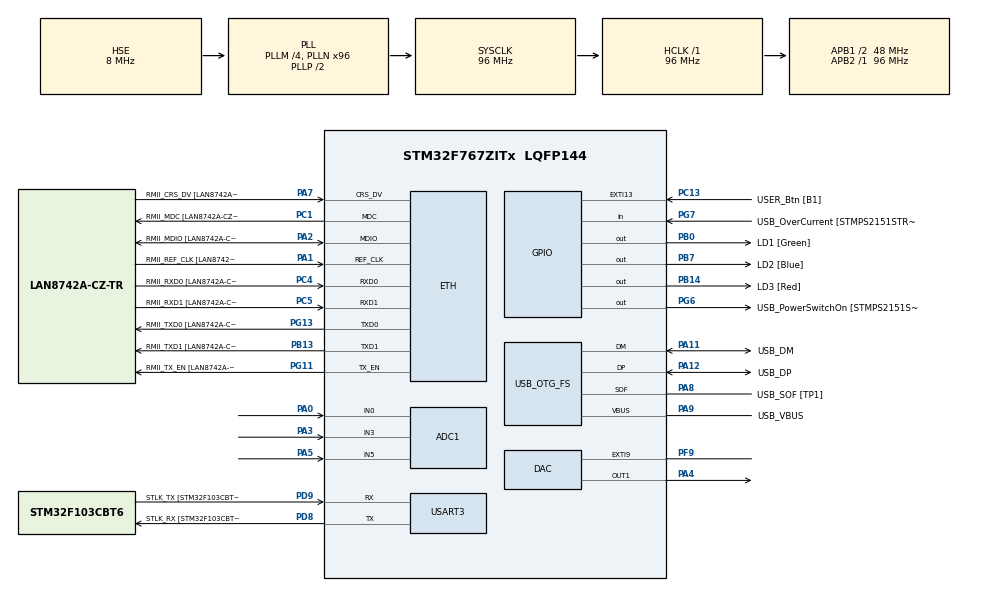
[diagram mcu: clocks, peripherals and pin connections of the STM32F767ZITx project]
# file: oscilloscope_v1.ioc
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ADC1.Channel-0\#ChannelRegularConversion=ADC_CHANNEL_0
ADC1.Channel-1\#ChannelRegularConversion=ADC_CHANNEL_3
ADC1.Channel-2\#ChannelRegularConversion=ADC_CHANNEL_5
ADC1.ClockPrescaler=ADC_CLOCK_SYNC_PCLK_DIV4
ADC1.ContinuousConvMode=ENABLE
ADC1.DMAContinuousRequests=ENABLE
ADC1.DiscontinuousConvMode=DISABLE
ADC1.EnableAnalogWatchDog=false
ADC1.ExternalTrigConv=ADC_EXTERNALTRIGCONV_T2_TRGO
ADC1.InjNumberOfConversion=0
ADC1.NbrOfConversion=3
ADC1.NbrOfConversionFlag=1
ADC1.Rank-0\#ChannelRegularConversion=1
ADC1.Rank-1\#ChannelRegularConversion=2
ADC1.Rank-2\#ChannelRegularConversion=3
ADC1.SamplingTime-0\#ChannelRegularConversion=ADC_SAMPLETIME_3CYCLES
ADC1.SamplingTime-1\#ChannelRegularConversion=ADC_SAMPLETIME_3CYCLES
ADC1.SamplingTime-2\#ChannelRegularConversion=ADC_SAMPLETIME_3CYCLES
ADC1.master=1
DAC.DAC_Trigger=DAC_TRIGGER_T2_TRGO
Dma.ADC1.0.Direction=DMA_PERIPH_TO_MEMORY
Dma.ADC1.0.FIFOMode=DMA_FIFOMODE_DISABLE
Dma.ADC1.0.Instance=DMA2_Stream0
Dma.ADC1.0.MemDataAlignment=DMA_MDATAALIGN_HALFWORD
Dma.ADC1.0.MemInc=DMA_MINC_ENABLE
Dma.ADC1.0.Mode=DMA_CIRCULAR
Dma.ADC1.0.PeriphDataAlignment=DMA_PDATAALIGN_HALFWORD
Dma.ADC1.0.PeriphInc=DMA_PINC_DISABLE
Dma.ADC1.0.Priority=DMA_PRIORITY_LOW
Dma.DAC1.1.Direction=DMA_MEMORY_TO_PERIPH
Dma.DAC1.1.FIFOMode=DMA_FIFOMODE_DISABLE
Dma.DAC1.1.Instance=DMA1_Stream5
Dma.DAC1.1.MemDataAlignment=DMA_MDATAALIGN_HALFWORD
Dma.DAC1.1.MemInc=DMA_MINC_ENABLE
Dma.DAC1.1.Mode=DMA_CIRCULAR
Dma.DAC1.1.PeriphDataAlignment=DMA_PDATAALIGN_HALFWORD
Dma.DAC1.1.PeriphInc=DMA_PINC_DISABLE
Dma.DAC1.1.Priority=DMA_PRIORITY_LOW
Dma.Request0=ADC1
Dma.Request1=DAC1
ETH.MediaInterface=HAL_ETH_RMII_MODE
ETH.PHY_Name=LAN8742A_PHY_ADDRESS
ETH.PHY_Value=0
ETH.PhyAddress=0
Mcu.Family=STM32F7
Mcu.Name=STM32F767ZITx
Mcu.Package=LQFP144
NVIC.DMA1_Stream5_IRQn=true\:0\:0\:false\:false\:true\:false\:true\:true
NVIC.DMA2_Stream0_IRQn=true\:0\:0\:false\:false\:true\:false\:true\:true
NVIC.EXTI15_10_IRQn=true\:0\:0\:false\:false\:true\:true\:true\:true
NVIC.PriorityGroup=NVIC_PRIORITYGROUP_4
PA0/WKUP.Signal=ADCx_IN0
PA1.GPIO_Label=RMII_REF_CLK [LAN8742A-CZ-TR_REFCLK0]
PA1.Mode=RMII
PA1.Signal=ETH_REF_CLK
PA10.GPIO_Label=USB_ID
PA10.Signal=USB_OTG_FS_ID
PA11.GPIO_Label=USB_DM
PA11.Mode=Device_Only
PA11.Signal=USB_OTG_FS_DM
PA12.GPIO_Label=USB_DP
PA12.Mode=Device_Only
PA12.Signal=USB_OTG_FS_DP
PA13.GPIO_Label=TMS
PA13.Mode=Serial_Wire
PA13.Signal=SYS_JTMS-SWDIO
PA14.GPIO_Label=TCK
PA14.Mode=Serial_Wire
PA14.Signal=SYS_JTCK-SWCLK
PA2.GPIO_Label=RMII_MDIO [LAN8742A-CZ-TR_MDIO]
PA2.Mode=RMII
PA2.Signal=ETH_MDIO
PA3.Signal=ADCx_IN3
PA4.Signal=COMP_DAC1_group
PA5.Signal=ADCx_IN5
PA7.GPIO_Label=RMII_CRS_DV [LAN8742A-CZ-TR_CRS_DV]
PA7.Mode=RMII
PA7.Signal=ETH_CRS_DV
PA8.GPIO_Label=USB_SOF [TP1]
PA8.Mode=Activate_SOF_FS
PA8.Signal=USB_OTG_FS_SOF
PA9.GPIO_Label=USB_VBUS
PA9.Mode=Activate_VBUS
PA9.Signal=USB_OTG_FS_VBUS
PB0.GPIO_Label=LD1 [Green]
PB0.Signal=GPIO_Output
PB13.GPIO_Label=RMII_TXD1 [LAN8742A-CZ-TR_TXD1]
PB13.Mode=RMII
PB13.Signal=ETH_TXD1
PB14.GPIO_Label=LD3 [Red]
PB14.Signal=GPIO_Output
PB3.GPIO_Label=SWO
PB3.Signal=SYS_JTDO-SWO
PB7.GPIO_Label=LD2 [Blue]
PB7.Signal=GPIO_Output
PC1.GPIO_Label=RMII_MDC [LAN8742A-CZ-TR_MDC]
PC1.Mode=RMII
PC1.Signal=ETH_MDC
PC13.GPIO_Label=USER_Btn [B1]
PC13.Signal=GPXTI13
PC14/OSC32_IN.Mode=LSE-External-Oscillator
PC14/OSC32_IN.Signal=RCC_OSC32_IN
PC15/OSC32_OUT.Mode=LSE-External-Oscillator
PC15/OSC32_OUT.Signal=RCC_OSC32_OUT
PC4.GPIO_Label=RMII_RXD0 [LAN8742A-CZ-TR_RXD0]
PC4.Mode=RMII
PC4.Signal=ETH_RXD0
PC5.GPIO_Label=RMII_RXD1 [LAN8742A-CZ-TR_RXD1]
PC5.Mode=RMII
PC5.Signal=ETH_RXD1
PD8.GPIO_Label=STLK_RX [STM32F103CBT6_PA3]
PD8.Mode=Asynchronous
PD8.Signal=USART3_TX
PD9.GPIO_Label=STLK_TX [STM32F103CBT6_PA2]
PD9.Mode=Asynchronous
PD9.Signal=USART3_RX
PF9.Signal=GPXTI9
PG11.GPIO_Label=RMII_TX_EN [LAN8742A-CZ-TR_TXEN]
PG11.Mode=RMII
PG11.Signal=ETH_TX_EN
PG13.GPIO_Label=RMII_TXD0 [LAN8742A-CZ-TR_TXD0]
PG13.Mode=RMII
PG13.Signal=ETH_TXD0
PG6.GPIO_Label=USB_PowerSwitchOn [STMPS2151STR_EN]
PG6.Signal=GPIO_Output
PG7.GPIO_Label=USB_OverCurrent [STMPS2151STR_FAULT]
PG7.Signal=GPIO_Input
PH0/OSC_IN.GPIO_Label=MCO [STM32F103CBT6_PA8]
PH0/OSC_IN.Mode=HSE-External-Clock-Source
PH0/OSC_IN.Signal=RCC_OSC_IN
PH1/OSC_OUT.Mode=HSE-External-Clock-Source
PH1/OSC_OUT.Signal=RCC_OSC_OUT
ProjectManager.HeapSize=0x200
ProjectManager.StackSize=0x400
ProjectManager.TargetToolchain=STM32CubeIDE
RCC.48MHZClocksFreq_Value=24000000
RCC.AHBFreq_Value=96000000
RCC.APB1CLKDivider=RCC_HCLK_DIV2
RCC.APB1Freq_Value=48000000
RCC.APB1TimFreq_Value=96000000
RCC.APB2Freq_Value=96000000
RCC.APB2TimFreq_Value=96000000
RCC.CortexFreq_Value=96000000
RCC.HCLKFreq_Value=96000000
RCC.HSE_VALUE=8000000
RCC.HSI_VALUE=16000000
RCC.PLLM=4
RCC.PLLMUL=RCC_PLL_MUL9
RCC.PLLN=96
RCC.PLLQ=4
RCC.PRESCALERUSB=RCC_USBCLKSOURCE_PLL_DIV1_5
RCC.SYSCLKFreq_VALUE=96000000
RCC.SYSCLKSource=RCC_SYSCLKSOURCE_PLLCLK
RCC.SYSCLKSourceVirtual=RCC_SYSCLKSOURCE_PLLCLK
RCC.USBFreq_Value=48000000
RCC.VCOOutputFreq_Value=192000000
SH.ADCx_IN0.0=ADC1_IN0,IN0
SH.ADCx_IN3.0=ADC1_IN3,IN3
SH.ADCx_IN5.0=ADC1_IN5,IN5
SH.COMP_DAC1_group.0=DAC_OUT1,DAC_OUT1
TIM2.Period=4799
TIM2.Prescaler=199
TIM2.TIM_MasterOutputTrigger=TIM_TRGO_UPDATE
USART3.VirtualMode-Asynchronous=VM_ASYNC
USB_OTG_FS.VirtualMode=Device_Only
VP_TIM2_VS_ClockSourceINT.Mode=Internal
board=NUCLEO-F767ZI

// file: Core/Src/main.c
/* USER CODE BEGIN Header */
/**
  ******************************************************************************
  * @file           : main.c
  * @brief          : Main program body
  ******************************************************************************
  * @attention
  *
  * Copyright (c) 2025 STMicroelectronics.
  * All rights reserved.
  *
  * This software is licensed under terms that can be found in the LICENSE file
  * in the root directory of this software component.
  * If no LICENSE file comes with this software, it is provided AS-IS.
  *
  ******************************************************************************
  */
/* USER CODE END Header */
#include "main.h"
#include "string.h"

#if defined ( __ICCARM__ ) /*!< IAR Compiler */
#pragma location=0x2007c000
ETH_DMADescTypeDef  DMARxDscrTab[ETH_RX_DESC_CNT]; /* Ethernet Rx DMA Descriptors */
#pragma location=0x2007c0a0
ETH_DMADescTypeDef  DMATxDscrTab[ETH_TX_DESC_CNT]; /* Ethernet Tx DMA Descriptors */

#elif defined ( __CC_ARM )  /* MDK ARM Compiler */

__attribute__((at(0x2007c000))) ETH_DMADescTypeDef  DMARxDscrTab[ETH_RX_DESC_CNT]; /* Ethernet Rx DMA Descriptors */
__attribute__((at(0x2007c0a0))) ETH_DMADescTypeDef  DMATxDscrTab[ETH_TX_DESC_CNT]; /* Ethernet Tx DMA Descriptors */

#elif defined ( __GNUC__ ) /* GNU Compiler */

ETH_DMADescTypeDef DMARxDscrTab[ETH_RX_DESC_CNT] __attribute__((section(".RxDecripSection"))); /* Ethernet Rx DMA Descriptors */
ETH_DMADescTypeDef DMATxDscrTab[ETH_TX_DESC_CNT] __attribute__((section(".TxDecripSection")));   /* Ethernet Tx DMA Descriptors */
#endif

ETH_TxPacketConfig TxConfig;

ADC_HandleTypeDef hadc1;
DMA_HandleTypeDef hdma_adc1;

DAC_HandleTypeDef hdac;
DMA_HandleTypeDef hdma_dac1;

ETH_HandleTypeDef heth;

TIM_HandleTypeDef htim2;

UART_HandleTypeDef huart3;

PCD_HandleTypeDef hpcd_USB_OTG_FS;

void SystemClock_Config(void);
static void MX_GPIO_Init(void);
static void MX_DMA_Init(void);
static void MX_ETH_Init(void);
static void MX_USART3_UART_Init(void);
static void MX_USB_OTG_FS_PCD_Init(void);
static void MX_ADC1_Init(void);
static void MX_DAC_Init(void);
static void MX_TIM2_Init(void);
/* USER CODE BEGIN PFP */
#define PUTCHAR_PROTOTYPE int __io_putchar(int ch)
/* USER CODE END PFP */

/* USER CODE BEGIN 0 */
PUTCHAR_PROTOTYPE
{
  HAL_UART_Transmit(&huart3, (uint8_t *)&ch, 1, HAL_MAX_DELAY);
  return ch;
}

#define TIM_CLK 96000000
#define DAC_BUF_LEN 32
#define ADC_BUF_LEN 32
#define ADC_CHANS 3

volatile uint16_t adc_buf[ADC_BUF_LEN * ADC_CHANS];
volatile uint16_t dac_buf[DAC_BUF_LEN];
volatile uint16_t timestamp = 0;

void HAL_GPIO_EXTI_Callback (uint16_t GPIO_Pin) {
	if(GPIO_Pin == USER_Btn_Pin) {
		timestamp = 0;
	}
}

/* USER CODE END 0 */

int main(void)
{

  /* USER CODE BEGIN 1 */
	for (int i = 0; i < DAC_BUF_LEN; i++) {
		dac_buf[i] = 1.3f * i * (i - 15) * (i - 31) + 1970;
	}

  /* USER CODE END 1 */

  /* MCU Configuration--------------------------------------------------------*/

  /* Reset of all peripherals, Initializes the Flash interface and the Systick. */
  HAL_Init();

  /* Configure the system clock */
  SystemClock_Config();

  /* Initialize all configured peripherals */
  MX_GPIO_Init();
  MX_DMA_Init();
  MX_ETH_Init();
  MX_USART3_UART_Init();
  MX_USB_OTG_FS_PCD_Init();
  MX_ADC1_Init();
  MX_DAC_Init();
  MX_TIM2_Init();
  /* USER CODE BEGIN 2 */

  HAL_TIM_Base_Start(&htim2);

  HAL_DAC_Start_DMA(&hdac, DAC_CHANNEL_1, (uint32_t*) dac_buf, DAC_BUF_LEN, DAC_ALIGN_12B_R);
  HAL_ADC_Start_DMA(&hadc1, (uint32_t*) adc_buf, ADC_BUF_LEN * ADC_CHANS);

  /* USER CODE END 2 */

  /* Infinite loop */
  while (1)
  {

    /* USER CODE BEGIN 3 */
	  int delay = 1000.0f * (htim2.Init.Prescaler + 1) * (htim2.Init.Period + 1) / TIM_CLK;
	  for (int i = 0; i < ADC_BUF_LEN; i++) {
		  uint16_t val_in0 = adc_buf[3 * i];
		  uint16_t val_in3 = adc_buf[3 * i + 1];
		  uint16_t val_in5 = adc_buf[3 * i + 2];
		  printf("%5u %4u %4u %4u\r\n", timestamp, val_in0, val_in3, val_in5);
		  HAL_Delay(delay);
	  }
  }
  /* USER CODE END 3 */
}

void SystemClock_Config(void)
{
  RCC_OscInitTypeDef RCC_OscInitStruct = {0};
  RCC_ClkInitTypeDef RCC_ClkInitStruct = {0};

  /** Configure LSE Drive Capability
  */
  HAL_PWR_EnableBkUpAccess();

  /** Configure the main internal regulator output voltage
  */
  __HAL_RCC_PWR_CLK_ENABLE();
  __HAL_PWR_VOLTAGESCALING_CONFIG(PWR_REGULATOR_VOLTAGE_SCALE3);

  /** Initializes the RCC Oscillators according to the specified parameters
  * in the RCC_OscInitTypeDef structure.
  */
  RCC_OscInitStruct.OscillatorType = RCC_OSCILLATORTYPE_HSE;
  RCC_OscInitStruct.HSEState = RCC_HSE_BYPASS;
  RCC_OscInitStruct.PLL.PLLState = RCC_PLL_ON;
  RCC_OscInitStruct.PLL.PLLSource = RCC_PLLSOURCE_HSE;
  RCC_OscInitStruct.PLL.PLLM = 4;
  RCC_OscInitStruct.PLL.PLLN = 96;
  RCC_OscInitStruct.PLL.PLLP = RCC_PLLP_DIV2;
  RCC_OscInitStruct.PLL.PLLQ = 4;
  RCC_OscInitStruct.PLL.PLLR = 2;
  if (HAL_RCC_OscConfig(&RCC_OscInitStruct) != HAL_OK)
  {
    Error_Handler();
  }

  /** Activate the Over-Drive mode
  */
  if (HAL_PWREx_EnableOverDrive() != HAL_OK)
  {
    Error_Handler();
  }

  /** Initializes the CPU, AHB and APB buses clocks
  */
  RCC_ClkInitStruct.ClockType = RCC_CLOCKTYPE_HCLK|RCC_CLOCKTYPE_SYSCLK
                              |RCC_CLOCKTYPE_PCLK1|RCC_CLOCKTYPE_PCLK2;
  RCC_ClkInitStruct.SYSCLKSource = RCC_SYSCLKSOURCE_PLLCLK;
  RCC_ClkInitStruct.AHBCLKDivider = RCC_SYSCLK_DIV1;
  RCC_ClkInitStruct.APB1CLKDivider = RCC_HCLK_DIV2;
  RCC_ClkInitStruct.APB2CLKDivider = RCC_HCLK_DIV1;

  if (HAL_RCC_ClockConfig(&RCC_ClkInitStruct, FLASH_LATENCY_3) != HAL_OK)
  {
    Error_Handler();
  }
}

static void MX_ADC1_Init(void)
{

  ADC_ChannelConfTypeDef sConfig = {0};

  /** Configure the global features of the ADC (Clock, Resolution, Data Alignment and number of conversion)
  */
  hadc1.Instance = ADC1;
  hadc1.Init.ClockPrescaler = ADC_CLOCK_SYNC_PCLK_DIV4;
  hadc1.Init.Resolution = ADC_RESOLUTION_12B;
  hadc1.Init.ScanConvMode = ADC_SCAN_ENABLE;
  hadc1.Init.ContinuousConvMode = ENABLE;
  hadc1.Init.DiscontinuousConvMode = DISABLE;
  hadc1.Init.ExternalTrigConvEdge = ADC_EXTERNALTRIGCONVEDGE_RISING;
  hadc1.Init.ExternalTrigConv = ADC_EXTERNALTRIGCONV_T2_TRGO;
  hadc1.Init.DataAlign = ADC_DATAALIGN_RIGHT;
  hadc1.Init.NbrOfConversion = 3;
  hadc1.Init.DMAContinuousRequests = ENABLE;
  hadc1.Init.EOCSelection = ADC_EOC_SINGLE_CONV;
  if (HAL_ADC_Init(&hadc1) != HAL_OK)
  {
    Error_Handler();
  }

  /** Configure for the selected ADC regular channel its corresponding rank in the sequencer and its sample time.
  */
  sConfig.Channel = ADC_CHANNEL_0;
  sConfig.Rank = ADC_REGULAR_RANK_1;
  sConfig.SamplingTime = ADC_SAMPLETIME_3CYCLES;
  if (HAL_ADC_ConfigChannel(&hadc1, &sConfig) != HAL_OK)
  {
    Error_Handler();
  }

  /** Configure for the selected ADC regular channel its corresponding rank in the sequencer and its sample time.
  */
  sConfig.Channel = ADC_CHANNEL_3;
  sConfig.Rank = ADC_REGULAR_RANK_2;
  if (HAL_ADC_ConfigChannel(&hadc1, &sConfig) != HAL_OK)
  {
    Error_Handler();
  }

  /** Configure for the selected ADC regular channel its corresponding rank in the sequencer and its sample time.
  */
  sConfig.Channel = ADC_CHANNEL_5;
  sConfig.Rank = ADC_REGULAR_RANK_3;
  if (HAL_ADC_ConfigChannel(&hadc1, &sConfig) != HAL_OK)
  {
    Error_Handler();
  }

}

static void MX_DAC_Init(void)
{

  DAC_ChannelConfTypeDef sConfig = {0};

  /** DAC Initialization
  */
  hdac.Instance = DAC;
  if (HAL_DAC_Init(&hdac) != HAL_OK)
  {
    Error_Handler();
  }

  /** DAC channel OUT1 config
  */
  sConfig.DAC_Trigger = DAC_TRIGGER_T2_TRGO;
  sConfig.DAC_OutputBuffer = DAC_OUTPUTBUFFER_ENABLE;
  if (HAL_DAC_ConfigChannel(&hdac, &sConfig, DAC_CHANNEL_1) != HAL_OK)
  {
    Error_Handler();
  }

}

static void MX_ETH_Init(void)
{

   static uint8_t MACAddr[6];

  heth.Instance = ETH;
  MACAddr[0] = 0x00;
  MACAddr[1] = 0x80;
  MACAddr[2] = 0xE1;
  MACAddr[3] = 0x00;
  MACAddr[4] = 0x00;
  MACAddr[5] = 0x00;
  heth.Init.MACAddr = &MACAddr[0];
  heth.Init.MediaInterface = HAL_ETH_RMII_MODE;
  heth.Init.TxDesc = DMATxDscrTab;
  heth.Init.RxDesc = DMARxDscrTab;
  heth.Init.RxBuffLen = 1524;

  if (HAL_ETH_Init(&heth) != HAL_OK)
  {
    Error_Handler();
  }

  memset(&TxConfig, 0 , sizeof(ETH_TxPacketConfig));
  TxConfig.Attributes = ETH_TX_PACKETS_FEATURES_CSUM | ETH_TX_PACKETS_FEATURES_CRCPAD;
  TxConfig.ChecksumCtrl = ETH_CHECKSUM_IPHDR_PAYLOAD_INSERT_PHDR_CALC;
  TxConfig.CRCPadCtrl = ETH_CRC_PAD_INSERT;

}

static void MX_TIM2_Init(void)
{

  TIM_ClockConfigTypeDef sClockSourceConfig = {0};
  TIM_MasterConfigTypeDef sMasterConfig = {0};

  htim2.Instance = TIM2;
  htim2.Init.Prescaler = 199;
  htim2.Init.CounterMode = TIM_COUNTERMODE_UP;
  htim2.Init.Period = 4799;
  htim2.Init.ClockDivision = TIM_CLOCKDIVISION_DIV1;
  htim2.Init.AutoReloadPreload = TIM_AUTORELOAD_PRELOAD_DISABLE;
  if (HAL_TIM_Base_Init(&htim2) != HAL_OK)
  {
    Error_Handler();
  }
  sClockSourceConfig.ClockSource = TIM_CLOCKSOURCE_INTERNAL;
  if (HAL_TIM_ConfigClockSource(&htim2, &sClockSourceConfig) != HAL_OK)
  {
    Error_Handler();
  }
  sMasterConfig.MasterOutputTrigger = TIM_TRGO_UPDATE;
  sMasterConfig.MasterSlaveMode = TIM_MASTERSLAVEMODE_DISABLE;
  if (HAL_TIMEx_MasterConfigSynchronization(&htim2, &sMasterConfig) != HAL_OK)
  {
    Error_Handler();
  }

}

static void MX_USART3_UART_Init(void)
{

  huart3.Instance = USART3;
  huart3.Init.BaudRate = 115200;
  huart3.Init.WordLength = UART_WORDLENGTH_8B;
  huart3.Init.StopBits = UART_STOPBITS_1;
  huart3.Init.Parity = UART_PARITY_NONE;
  huart3.Init.Mode = UART_MODE_TX_RX;
  huart3.Init.HwFlowCtl = UART_HWCONTROL_NONE;
  huart3.Init.OverSampling = UART_OVERSAMPLING_16;
  huart3.Init.OneBitSampling = UART_ONE_BIT_SAMPLE_DISABLE;
  huart3.AdvancedInit.AdvFeatureInit = UART_ADVFEATURE_NO_INIT;
  if (HAL_UART_Init(&huart3) != HAL_OK)
  {
    Error_Handler();
  }

}

static void MX_USB_OTG_FS_PCD_Init(void)
{

  hpcd_USB_OTG_FS.Instance = USB_OTG_FS;
  hpcd_USB_OTG_FS.Init.dev_endpoints = 6;
  hpcd_USB_OTG_FS.Init.speed = PCD_SPEED_FULL;
  hpcd_USB_OTG_FS.Init.dma_enable = DISABLE;
  hpcd_USB_OTG_FS.Init.phy_itface = PCD_PHY_EMBEDDED;
  hpcd_USB_OTG_FS.Init.Sof_enable = ENABLE;
  hpcd_USB_OTG_FS.Init.low_power_enable = DISABLE;
  hpcd_USB_OTG_FS.Init.lpm_enable = DISABLE;
  hpcd_USB_OTG_FS.Init.vbus_sensing_enable = ENABLE;
  hpcd_USB_OTG_FS.Init.use_dedicated_ep1 = DISABLE;
  if (HAL_PCD_Init(&hpcd_USB_OTG_FS) != HAL_OK)
  {
    Error_Handler();
  }

}

static void MX_DMA_Init(void)
{

  /* DMA controller clock enable */
  __HAL_RCC_DMA2_CLK_ENABLE();
  __HAL_RCC_DMA1_CLK_ENABLE();

  /* DMA interrupt init */
  /* DMA1_Stream5_IRQn interrupt configuration */
  HAL_NVIC_SetPriority(DMA1_Stream5_IRQn, 0, 0);
  HAL_NVIC_EnableIRQ(DMA1_Stream5_IRQn);
  /* DMA2_Stream0_IRQn interrupt configuration */
  HAL_NVIC_SetPriority(DMA2_Stream0_IRQn, 0, 0);
  HAL_NVIC_EnableIRQ(DMA2_Stream0_IRQn);

}

static void MX_GPIO_Init(void)
{
  GPIO_InitTypeDef GPIO_InitStruct = {0};

  /* GPIO Ports Clock Enable */
  __HAL_RCC_GPIOC_CLK_ENABLE();
  __HAL_RCC_GPIOF_CLK_ENABLE();
  __HAL_RCC_GPIOH_CLK_ENABLE();
  __HAL_RCC_GPIOA_CLK_ENABLE();
  __HAL_RCC_GPIOB_CLK_ENABLE();
  __HAL_RCC_GPIOD_CLK_ENABLE();
  __HAL_RCC_GPIOG_CLK_ENABLE();

  /*Configure GPIO pin Output Level */
  HAL_GPIO_WritePin(GPIOB, LD1_Pin|LD3_Pin|LD2_Pin, GPIO_PIN_RESET);

  /*Configure GPIO pin Output Level */
  HAL_GPIO_WritePin(USB_PowerSwitchOn_GPIO_Port, USB_PowerSwitchOn_Pin, GPIO_PIN_RESET);

  /*Configure GPIO pin : USER_Btn_Pin */
  GPIO_InitStruct.Pin = USER_Btn_Pin;
  GPIO_InitStruct.Mode = GPIO_MODE_IT_RISING;
  GPIO_InitStruct.Pull = GPIO_NOPULL;
  HAL_GPIO_Init(USER_Btn_GPIO_Port, &GPIO_InitStruct);

  /*Configure GPIO pin : PF9 */
  GPIO_InitStruct.Pin = GPIO_PIN_9;
  GPIO_InitStruct.Mode = GPIO_MODE_IT_RISING;
  GPIO_InitStruct.Pull = GPIO_NOPULL;
  HAL_GPIO_Init(GPIOF, &GPIO_InitStruct);

  /*Configure GPIO pins : LD1_Pin LD3_Pin LD2_Pin */
  GPIO_InitStruct.Pin = LD1_Pin|LD3_Pin|LD2_Pin;
  GPIO_InitStruct.Mode = GPIO_MODE_OUTPUT_PP;
  GPIO_InitStruct.Pull = GPIO_NOPULL;
  GPIO_InitStruct.Speed = GPIO_SPEED_FREQ_LOW;
  HAL_GPIO_Init(GPIOB, &GPIO_InitStruct);

  /*Configure GPIO pin : USB_PowerSwitchOn_Pin */
  GPIO_InitStruct.Pin = USB_PowerSwitchOn_Pin;
  GPIO_InitStruct.Mode = GPIO_MODE_OUTPUT_PP;
  GPIO_InitStruct.Pull = GPIO_NOPULL;
  GPIO_InitStruct.Speed = GPIO_SPEED_FREQ_LOW;
  HAL_GPIO_Init(USB_PowerSwitchOn_GPIO_Port, &GPIO_InitStruct);

  /*Configure GPIO pin : USB_OverCurrent_Pin */
  GPIO_InitStruct.Pin = USB_OverCurrent_Pin;
  GPIO_InitStruct.Mode = GPIO_MODE_INPUT;
  GPIO_InitStruct.Pull = GPIO_NOPULL;
  HAL_GPIO_Init(USB_OverCurrent_GPIO_Port, &GPIO_InitStruct);

  /* EXTI interrupt init*/
  HAL_NVIC_SetPriority(EXTI15_10_IRQn, 0, 0);
  HAL_NVIC_EnableIRQ(EXTI15_10_IRQn);

}

void Error_Handler(void)
{
  __disable_irq();
  while (1)
  {
  }
}
